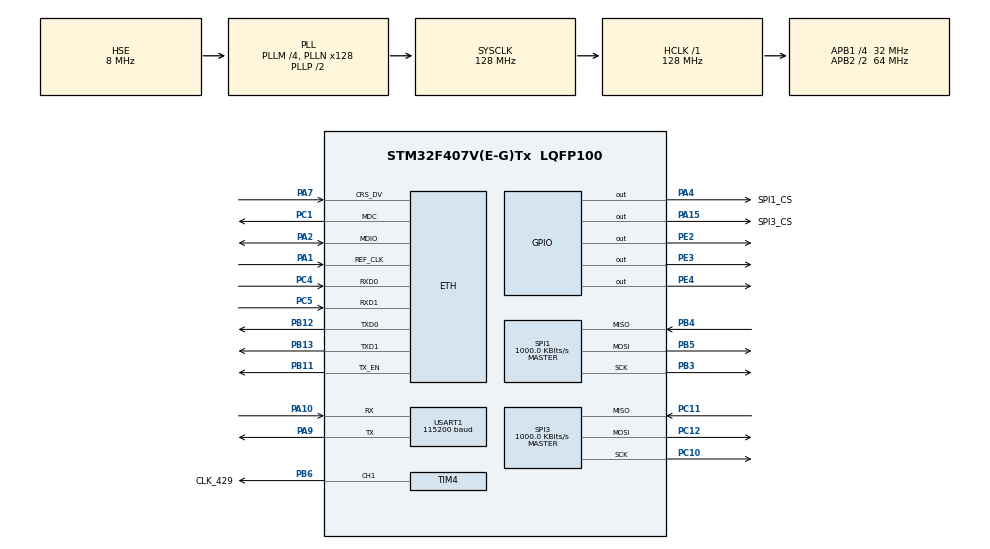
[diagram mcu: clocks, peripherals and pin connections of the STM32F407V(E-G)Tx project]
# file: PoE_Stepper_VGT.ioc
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Dma.Request0=USART1_RX
Dma.USART1_RX.0.Direction=DMA_PERIPH_TO_MEMORY
Dma.USART1_RX.0.FIFOMode=DMA_FIFOMODE_DISABLE
Dma.USART1_RX.0.Instance=DMA2_Stream2
Dma.USART1_RX.0.MemDataAlignment=DMA_MDATAALIGN_BYTE
Dma.USART1_RX.0.MemInc=DMA_MINC_ENABLE
Dma.USART1_RX.0.Mode=DMA_CIRCULAR
Dma.USART1_RX.0.PeriphDataAlignment=DMA_PDATAALIGN_BYTE
Dma.USART1_RX.0.PeriphInc=DMA_PINC_DISABLE
Dma.USART1_RX.0.Priority=DMA_PRIORITY_LOW
ETH.MediaInterface=ETH_MEDIA_INTERFACE_RMII
ETH.PHY_Name_RMII=LAN8742A_PHY_ADDRESS
LWIP.GATEWAY_ADDRESS=192.168.107.001
LWIP.IP_ADDRESS=192.168.107.111
LWIP.LWIP_DHCP=0
LWIP.MEM_SIZE=10*1024
LWIP.NETMASK_ADDRESS=255.255.255.000
LWIP.Version=v2.1.2_Cube
Mcu.Family=STM32F4
Mcu.Name=STM32F407V(E-G)Tx
Mcu.Package=LQFP100
NVIC.DMA2_Stream2_IRQn=true\:0\:0\:false\:false\:true\:false\:true
NVIC.PriorityGroup=NVIC_PRIORITYGROUP_4
NVIC.USART1_IRQn=true\:0\:0\:false\:false\:true\:true\:true
PA1.Mode=RMII
PA1.Signal=ETH_REF_CLK
PA10.Mode=Asynchronous
PA10.Signal=USART1_RX
PA13.Mode=Serial_Wire
PA13.Signal=SYS_JTMS-SWDIO
PA14.Mode=Serial_Wire
PA14.Signal=SYS_JTCK-SWCLK
PA15.GPIO_Label=SPI3_CS
PA15.Signal=GPIO_Output
PA2.Mode=RMII
PA2.Signal=ETH_MDIO
PA4.GPIO_Label=SPI1_CS
PA4.Signal=GPIO_Output
PA7.Mode=RMII
PA7.Signal=ETH_CRS_DV
PA9.Mode=Asynchronous
PA9.Signal=USART1_TX
PB11.Mode=RMII
PB11.Signal=ETH_TX_EN
PB12.Mode=RMII
PB12.Signal=ETH_TXD0
PB13.Mode=RMII
PB13.Signal=ETH_TXD1
PB3.Mode=Full_Duplex_Master
PB3.Signal=SPI1_SCK
PB4.Mode=Full_Duplex_Master
PB4.Signal=SPI1_MISO
PB5.Mode=Full_Duplex_Master
PB5.Signal=SPI1_MOSI
PB6.GPIO_Label=CLK_429
PB6.Signal=S_TIM4_CH1
PC1.Mode=RMII
PC1.Signal=ETH_MDC
PC10.Mode=Full_Duplex_Master
PC10.Signal=SPI3_SCK
PC11.Mode=Full_Duplex_Master
PC11.Signal=SPI3_MISO
PC12.Mode=Full_Duplex_Master
PC12.Signal=SPI3_MOSI
PC4.Mode=RMII
PC4.Signal=ETH_RXD0
PC5.Mode=RMII
PC5.Signal=ETH_RXD1
PE2.Signal=GPIO_Output
PE3.Signal=GPIO_Output
PE4.Signal=GPIO_Output
PH0-OSC_IN.Mode=HSE-External-Oscillator
PH0-OSC_IN.Signal=RCC_OSC_IN
PH1-OSC_OUT.Mode=HSE-External-Oscillator
PH1-OSC_OUT.Signal=RCC_OSC_OUT
ProjectManager.HeapSize=0x200
ProjectManager.StackSize=0x400
ProjectManager.TargetToolchain=STM32CubeIDE
RCC.48MHZClocksFreq_Value=64000000
RCC.AHBFreq_Value=128000000
RCC.APB1CLKDivider=RCC_HCLK_DIV4
RCC.APB1Freq_Value=32000000
RCC.APB1TimFreq_Value=64000000
RCC.APB2CLKDivider=RCC_HCLK_DIV2
RCC.APB2Freq_Value=64000000
RCC.APB2TimFreq_Value=128000000
RCC.CortexFreq_Value=128000000
RCC.HCLKFreq_Value=128000000
RCC.HSE_VALUE=8000000
RCC.HSI_VALUE=16000000
RCC.LSE_VALUE=32768
RCC.PLLM=4
RCC.PLLN=128
RCC.PLLSourceVirtual=RCC_PLLSOURCE_HSE
RCC.SYSCLKFreq_VALUE=128000000
RCC.SYSCLKSource=RCC_SYSCLKSOURCE_PLLCLK
RCC.VCOOutputFreq_Value=256000000
SH.S_TIM4_CH1.0=TIM4_CH1,PWM Generation1 CH1
SPI1.BaudRatePrescaler=SPI_BAUDRATEPRESCALER_64
SPI1.CLKPhase=SPI_PHASE_2EDGE
SPI1.CLKPolarity=SPI_POLARITY_HIGH
SPI1.CalculateBaudRate=1000.0 KBits/s
SPI1.Direction=SPI_DIRECTION_2LINES
SPI1.Mode=SPI_MODE_MASTER
SPI1.VirtualType=VM_MASTER
SPI3.BaudRatePrescaler=SPI_BAUDRATEPRESCALER_32
SPI3.CLKPhase=SPI_PHASE_2EDGE
SPI3.CLKPolarity=SPI_POLARITY_HIGH
SPI3.CalculateBaudRate=1000.0 KBits/s
SPI3.Direction=SPI_DIRECTION_2LINES
SPI3.Mode=SPI_MODE_MASTER
SPI3.VirtualType=VM_MASTER
TIM4.Channel-PWM\ Generation1\ CH1=TIM_CHANNEL_1
TIM4.Period=2-1
TIM4.Prescaler=1
USART1.BaudRate=115200
USART1.VirtualMode=VM_ASYNC
VP_LWIP_VS_Enabled.Mode=Enabled
VP_TIM4_VS_ClockSourceINT.Mode=Internal
board=custom

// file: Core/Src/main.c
/* USER CODE BEGIN Header */
/**
  ******************************************************************************
  * @file           : main.c
  * @brief          : Main program body
  ******************************************************************************
  * @attention
  *
  * Copyright (c) 2022 STMicroelectronics.
  * All rights reserved.
  *
  * This software is licensed under terms that can be found in the LICENSE file
  * in the root directory of this software component.
  * If no LICENSE file comes with this software, it is provided AS-IS.
  *
  ******************************************************************************
  */
/* USER CODE END Header */
#include "main.h"
#include "lwip.h"

/* USER CODE BEGIN Includes */
#include <stdio.h>
/* USER CODE END Includes */

SPI_HandleTypeDef hspi1;
SPI_HandleTypeDef hspi3;

TIM_HandleTypeDef htim4;

UART_HandleTypeDef huart1;
DMA_HandleTypeDef hdma_usart1_rx;

void SystemClock_Config(void);
static void MX_GPIO_Init(void);
static void MX_SPI1_Init(void);
static void MX_SPI3_Init(void);
static void MX_TIM4_Init(void);
static void MX_DMA_Init(void);
static void MX_USART1_UART_Init(void);
/* USER CODE BEGIN PFP */
uint8_t SPI_2660_Init(void);
uint8_t SPI_429_Init(uint8_t *spi_buf);
void const_vel_test_429 (uint8_t * spi_buf);
void const_vel_test_429_pos (uint8_t * spi_buf);
void set_motor_pos(uint32_t position, uint8_t * spi_buf);
void read_position(uint8_t * spi_buffer, uint8_t reg);
void read_ifx(uint8_t * spi_buf);
void write_ifx(uint8_t * spi_buf);
void read_common_reg(uint8_t * spi_buf);

uint32_t set_current_scaling(uint8_t * c_scale);
uint32_t set_motor_x(uint8_t * pos, uint8_t * spi_buf);
uint32_t set_motor_vel(uint8_t * vel, uint8_t * spi_buf);
void get_position(uint8_t * spi_buf);
uint8_t* get_velocity(uint8_t * spi_buf);
void set_const_vel_test(uint8_t * spi_buf);
/* USER CODE END PFP */

/* USER CODE BEGIN 0 */
extern struct netif gnetif;
uint8_t Rx_data[10];  //  creating a buffer of 10 bytes

void HAL_UART_RxHalfCpltCallback(UART_HandleTypeDef *huart)
{
  HAL_GPIO_TogglePin(GPIOE, GPIO_PIN_4);  // toggle PA0
}

void HAL_UART_RxCpltCallback(UART_HandleTypeDef *huart)
{
  HAL_UART_Receive_DMA(&huart1, Rx_data, 4);
}

/* USER CODE END 0 */

int main(void)
{

  /* MCU Configuration--------------------------------------------------------*/

  /* Reset of all peripherals, Initializes the Flash interface and the Systick. */
  HAL_Init();

  /* Configure the system clock */
  SystemClock_Config();

  /* Initialize all configured peripherals */
  MX_GPIO_Init();
  MX_SPI1_Init();
  MX_SPI3_Init();
  MX_TIM4_Init();
  MX_DMA_Init();
  MX_USART1_UART_Init();
  MX_LWIP_Init();
  /* USER CODE BEGIN 2 */

  //  TIM1->CCR4 = 4; //set duty cycle of tim1 ch4
     //set duty cycle of tim4 ch1

    //HAL_TIM_PWM_Start(&htim1, TIM_CHANNEL_4); //start tim1 ch4 pwm

  //  HAL_TIM_Base_Start(&htim4);
  TIM4->CCR1 = 1;
  HAL_TIM_PWM_Start(&htim4, TIM_CHANNEL_1); //start tim4 ch1 pwm

  uint8_t spi_buf[4];

  SPI_429_Init(spi_buf);
  SPI_2660_Init();

  /* USER CODE END 2 */

  /* Infinite loop */
  /* USER CODE BEGIN WHILE */
  // read_ifx(spi_buf);

  HAL_UART_Receive_DMA(&huart1, Rx_data, 4);  // Receive 4 Bytes of data

  while (1)
  {
    /* USER CODE END WHILE */

    /* USER CODE BEGIN 3 */
//	int j;
//	j=0;
//	char MSG[500] = {'\0'};
//
//
//		sprintf(MSG, "RX_DATA:%x, %x, %x, %x \r\n", (Rx_data[0]), (Rx_data[1]), (Rx_data[2]), (Rx_data[3]));

	  //HAL_UART_Transmit(&huart1, (uint8_t *)Rx_data, 4, HAL_MAX_DELAY);

//	 ethernetif_input(&gnetif);
//	 sys_check_timeouts();

//	 read_common_reg(spi_buf);

	 switch (Rx_data[0]) {
		 case 0x01: // set pos

//			 HAL_GPIO_WritePin(GPIOE, GPIO_PIN_4, GPIO_PIN_SET);
			 set_motor_x(Rx_data, spi_buf);
			 break;

		 case 0x02: // get pos
			 get_position(spi_buf);
			 //set_const_vel_test(spi_buf);

			 break;

		 case 0x04: // set vel
			 set_motor_vel(Rx_data, spi_buf);
			 break;

		 case 0x08: // get vel
			 break;

		 case 0x0F: // set current scale
			 set_current_scaling(Rx_data);
			 break;

	 }

	 uint8_t test[4];
	 test[0] = Rx_data[0];
	 test[1] = Rx_data[1];
	 test[2] = Rx_data[2];
	 test[3] = Rx_data[3];

//	 HAL_Delay(1000);

//	 MSG[500] = {'\0'};
//	HAL_GPIO_TogglePin(GPIOE, GPIO_PIN_4);
//	HAL_Delay(50);
//	set_motor_pos(1, spi_buf);

  // read_ifx(spi_buf);
	//const_vel_test_429(spi_buf);
  //HAL_Delay(1000);
  //const_vel_test_429_pos(spi_buf);

//	HAL_GPIO_WritePin(GPIOA, GPIO_PIN_15, GPIO_PIN_RESET);
//	HAL_SPI_Transmit(&hspi3,(uint8_t *)spi_buf, 3, 100);
//	HAL_GPIO_WritePin(GPIOA, GPIO_PIN_15, GPIO_PIN_SET);

  }
  /* USER CODE END 3 */
}

void SystemClock_Config(void)
{
  RCC_OscInitTypeDef RCC_OscInitStruct = {0};
  RCC_ClkInitTypeDef RCC_ClkInitStruct = {0};

  /** Configure the main internal regulator output voltage
  */
  __HAL_RCC_PWR_CLK_ENABLE();
  __HAL_PWR_VOLTAGESCALING_CONFIG(PWR_REGULATOR_VOLTAGE_SCALE1);
  /** Initializes the RCC Oscillators according to the specified parameters
  * in the RCC_OscInitTypeDef structure.
  */
  RCC_OscInitStruct.OscillatorType = RCC_OSCILLATORTYPE_HSE;
  RCC_OscInitStruct.HSEState = RCC_HSE_ON;
  RCC_OscInitStruct.PLL.PLLState = RCC_PLL_ON;
  RCC_OscInitStruct.PLL.PLLSource = RCC_PLLSOURCE_HSE;
  RCC_OscInitStruct.PLL.PLLM = 4;
  RCC_OscInitStruct.PLL.PLLN = 128;
  RCC_OscInitStruct.PLL.PLLP = RCC_PLLP_DIV2;
  RCC_OscInitStruct.PLL.PLLQ = 4;
  if (HAL_RCC_OscConfig(&RCC_OscInitStruct) != HAL_OK)
  {
    Error_Handler();
  }
  /** Initializes the CPU, AHB and APB buses clocks
  */
  RCC_ClkInitStruct.ClockType = RCC_CLOCKTYPE_HCLK|RCC_CLOCKTYPE_SYSCLK
                              |RCC_CLOCKTYPE_PCLK1|RCC_CLOCKTYPE_PCLK2;
  RCC_ClkInitStruct.SYSCLKSource = RCC_SYSCLKSOURCE_PLLCLK;
  RCC_ClkInitStruct.AHBCLKDivider = RCC_SYSCLK_DIV1;
  RCC_ClkInitStruct.APB1CLKDivider = RCC_HCLK_DIV4;
  RCC_ClkInitStruct.APB2CLKDivider = RCC_HCLK_DIV2;

  if (HAL_RCC_ClockConfig(&RCC_ClkInitStruct, FLASH_LATENCY_4) != HAL_OK)
  {
    Error_Handler();
  }
}

static void MX_SPI1_Init(void)
{

  /* SPI1 parameter configuration*/
  hspi1.Instance = SPI1;
  hspi1.Init.Mode = SPI_MODE_MASTER;
  hspi1.Init.Direction = SPI_DIRECTION_2LINES;
  hspi1.Init.DataSize = SPI_DATASIZE_8BIT;
  hspi1.Init.CLKPolarity = SPI_POLARITY_HIGH;
  hspi1.Init.CLKPhase = SPI_PHASE_2EDGE;
  hspi1.Init.NSS = SPI_NSS_SOFT;
  hspi1.Init.BaudRatePrescaler = SPI_BAUDRATEPRESCALER_64;
  hspi1.Init.FirstBit = SPI_FIRSTBIT_MSB;
  hspi1.Init.TIMode = SPI_TIMODE_DISABLE;
  hspi1.Init.CRCCalculation = SPI_CRCCALCULATION_DISABLE;
  hspi1.Init.CRCPolynomial = 10;
  if (HAL_SPI_Init(&hspi1) != HAL_OK)
  {
    Error_Handler();
  }

}

static void MX_SPI3_Init(void)
{

  /* SPI3 parameter configuration*/
  hspi3.Instance = SPI3;
  hspi3.Init.Mode = SPI_MODE_MASTER;
  hspi3.Init.Direction = SPI_DIRECTION_2LINES;
  hspi3.Init.DataSize = SPI_DATASIZE_8BIT;
  hspi3.Init.CLKPolarity = SPI_POLARITY_HIGH;
  hspi3.Init.CLKPhase = SPI_PHASE_2EDGE;
  hspi3.Init.NSS = SPI_NSS_SOFT;
  hspi3.Init.BaudRatePrescaler = SPI_BAUDRATEPRESCALER_32;
  hspi3.Init.FirstBit = SPI_FIRSTBIT_MSB;
  hspi3.Init.TIMode = SPI_TIMODE_DISABLE;
  hspi3.Init.CRCCalculation = SPI_CRCCALCULATION_DISABLE;
  hspi3.Init.CRCPolynomial = 10;
  if (HAL_SPI_Init(&hspi3) != HAL_OK)
  {
    Error_Handler();
  }

}

static void MX_TIM4_Init(void)
{

  TIM_ClockConfigTypeDef sClockSourceConfig = {0};
  TIM_MasterConfigTypeDef sMasterConfig = {0};
  TIM_OC_InitTypeDef sConfigOC = {0};

  htim4.Instance = TIM4;
  htim4.Init.Prescaler = 1;
  htim4.Init.CounterMode = TIM_COUNTERMODE_UP;
  htim4.Init.Period = 2-1;
  htim4.Init.ClockDivision = TIM_CLOCKDIVISION_DIV1;
  htim4.Init.AutoReloadPreload = TIM_AUTORELOAD_PRELOAD_DISABLE;
  if (HAL_TIM_Base_Init(&htim4) != HAL_OK)
  {
    Error_Handler();
  }
  sClockSourceConfig.ClockSource = TIM_CLOCKSOURCE_INTERNAL;
  if (HAL_TIM_ConfigClockSource(&htim4, &sClockSourceConfig) != HAL_OK)
  {
    Error_Handler();
  }
  if (HAL_TIM_PWM_Init(&htim4) != HAL_OK)
  {
    Error_Handler();
  }
  sMasterConfig.MasterOutputTrigger = TIM_TRGO_RESET;
  sMasterConfig.MasterSlaveMode = TIM_MASTERSLAVEMODE_DISABLE;
  if (HAL_TIMEx_MasterConfigSynchronization(&htim4, &sMasterConfig) != HAL_OK)
  {
    Error_Handler();
  }
  sConfigOC.OCMode = TIM_OCMODE_PWM1;
  sConfigOC.Pulse = 0;
  sConfigOC.OCPolarity = TIM_OCPOLARITY_HIGH;
  sConfigOC.OCFastMode = TIM_OCFAST_DISABLE;
  if (HAL_TIM_PWM_ConfigChannel(&htim4, &sConfigOC, TIM_CHANNEL_1) != HAL_OK)
  {
    Error_Handler();
  }
  HAL_TIM_MspPostInit(&htim4);

}

static void MX_USART1_UART_Init(void)
{

  huart1.Instance = USART1;
  huart1.Init.BaudRate = 115200;
  huart1.Init.WordLength = UART_WORDLENGTH_8B;
  huart1.Init.StopBits = UART_STOPBITS_1;
  huart1.Init.Parity = UART_PARITY_NONE;
  huart1.Init.Mode = UART_MODE_TX_RX;
  huart1.Init.HwFlowCtl = UART_HWCONTROL_NONE;
  huart1.Init.OverSampling = UART_OVERSAMPLING_16;
  if (HAL_UART_Init(&huart1) != HAL_OK)
  {
    Error_Handler();
  }

}

static void MX_DMA_Init(void)
{

  /* DMA controller clock enable */
  __HAL_RCC_DMA2_CLK_ENABLE();

  /* DMA interrupt init */
  /* DMA2_Stream2_IRQn interrupt configuration */
  HAL_NVIC_SetPriority(DMA2_Stream2_IRQn, 0, 0);
  HAL_NVIC_EnableIRQ(DMA2_Stream2_IRQn);

}

static void MX_GPIO_Init(void)
{
  GPIO_InitTypeDef GPIO_InitStruct = {0};

  /* GPIO Ports Clock Enable */
  __HAL_RCC_GPIOE_CLK_ENABLE();
  __HAL_RCC_GPIOH_CLK_ENABLE();
  __HAL_RCC_GPIOC_CLK_ENABLE();
  __HAL_RCC_GPIOA_CLK_ENABLE();
  __HAL_RCC_GPIOB_CLK_ENABLE();

  /*Configure GPIO pin Output Level */
  HAL_GPIO_WritePin(GPIOE, GPIO_PIN_2|GPIO_PIN_3|GPIO_PIN_4, GPIO_PIN_RESET);

  /*Configure GPIO pin Output Level */
  HAL_GPIO_WritePin(GPIOA, SPI1_CS_Pin|SPI3_CS_Pin, GPIO_PIN_RESET);

  /*Configure GPIO pins : PE2 PE3 PE4 */
  GPIO_InitStruct.Pin = GPIO_PIN_2|GPIO_PIN_3|GPIO_PIN_4;
  GPIO_InitStruct.Mode = GPIO_MODE_OUTPUT_PP;
  GPIO_InitStruct.Pull = GPIO_NOPULL;
  GPIO_InitStruct.Speed = GPIO_SPEED_FREQ_LOW;
  HAL_GPIO_Init(GPIOE, &GPIO_InitStruct);

  /*Configure GPIO pins : SPI1_CS_Pin SPI3_CS_Pin */
  GPIO_InitStruct.Pin = SPI1_CS_Pin|SPI3_CS_Pin;
  GPIO_InitStruct.Mode = GPIO_MODE_OUTPUT_PP;
  GPIO_InitStruct.Pull = GPIO_NOPULL;
  GPIO_InitStruct.Speed = GPIO_SPEED_FREQ_LOW;
  HAL_GPIO_Init(GPIOA, &GPIO_InitStruct);

}

/* USER CODE BEGIN 4 */

HAL_StatusTypeDef SPI_2660_Transmit(uint8_t * dataBuffer){
    HAL_StatusTypeDef err;
    uint8_t spi_buf[3];

    HAL_GPIO_WritePin(GPIOA, GPIO_PIN_15, GPIO_PIN_RESET);
    err = HAL_SPI_TransmitReceive(&hspi3, (uint8_t *)dataBuffer, (uint8_t *)spi_buf,  3, 100);
    while(HAL_SPI_GetState(&hspi3) != HAL_SPI_STATE_READY);
//    while(HAL_SPI_GetState(&hspi3) != HAL_SPI_STATE_READY);
    HAL_GPIO_WritePin(GPIOA, GPIO_PIN_15, GPIO_PIN_SET);

    return err;
}

uint8_t SPI_2660_Init(void){
    uint8_t wData[3];
    wData[0] = 0x09;            // SPI = $94557  Constant toff mode
    wData[1] = 0x01;
    wData[2] = 0xB4;
    SPI_2660_Transmit(wData);

    wData[0] = 0x0D;            // SPI = $D001F  Current setting: $d001F (max. current) (D000A = 1/3 current)
    wData[1] = 0x00;
    wData[2] = 0x0A;//0x0A;
    SPI_2660_Transmit(wData);

    wData[0] = 0x0E;            // SPI = $E0090  low driver strength, StallGuard2 read, SDOFF=1
    wData[1] = 0x00;            //  1110 0000 0000 1001 0000
    wData[2] = 0x10;
    SPI_2660_Transmit(wData);

    wData[0] = 0x00;            // SPI = $00000  256 microstep setting
    wData[1] = 0x00;
    wData[2] = 0x00; // 64 micro step setting // 0x00; 08-full
    SPI_2660_Transmit(wData);

    return 0;

}

HAL_StatusTypeDef SPI_429_Transmit(uint8_t * dataBuffer, uint8_t *spi_buf){
    HAL_StatusTypeDef err;
    // uint8_t spi_buf[4];

    HAL_GPIO_WritePin(GPIOE, GPIO_PIN_2, GPIO_PIN_RESET);
    err = HAL_SPI_TransmitReceive(&hspi1, (uint8_t *)dataBuffer, (uint8_t *)spi_buf,  4, 10000);
    while(HAL_SPI_GetState(&hspi1) != HAL_SPI_STATE_READY);
//  HAL_SPI_Receive(&hspi3, (uint8_t *)spi_buf, 5, 100);
//    while(HAL_SPI_GetState(&hspi3) != HAL_SPI_STATE_READY);
    HAL_GPIO_WritePin(GPIOE, GPIO_PIN_2, GPIO_PIN_SET);

    return err;
}

uint8_t SPI_429_Init(uint8_t *spi_buf){
    uint8_t wData[4];
    wData[0] = 0x04;            // SPI = $04 00 00 07
    wData[1] = 0x00;
    wData[2] = 0x00;
    wData[3] = 0x07;
    SPI_429_Transmit(wData,spi_buf);
    //0000 0100 0000 0000 0[000 0000 0111]
    //IDX: 0010
    //vmin: 7

    wData[0] = 0x06;            // SPI = $06 00 07 FF
    wData[1] = 0x00;
    wData[2] = 0x07;
    wData[3] = 0x00;
    SPI_429_Transmit(wData,spi_buf);
    //0000 0110 0000 0000 0[111 1111 1111]
    //IDX: 0011
    //vmax:2047

    wData[0] = 0x18;// end now 07 //0x14;            // SPI = $14 00 33 00
    wData[1] = 0x00;
    wData[2] = 0x33;
    wData[3] = 0x00;//0x07; //usrs res 111 64 microstep
    SPI_429_Transmit(wData, spi_buf);
    //0001 1000 0000 0000 [0011] [0011] 0000 [0111]
    //IDX:1100 18
    //PULSE_DIV: 3
    //RAMP_DIV: 3
    //USRS: 7

//    //NEW ADD
//    wData[0] = 0x14;            // SPI = $14 00 03 00
//    wData[1] = 0x00;
//    wData[2] = 0x03;            // ref_conf = (refrnl, softstop, disavle stop r. disable stop 1) = 0b011
//    wData[3] = 0x00;          //0x02;
//    SPI_429_Transmit(wData, spi_buf);
//    //0001 0100 0000 0000 0000 [0011] 0000 00[00]
//    //IDX: 1010
//    //REF_CONF = 3
//    //R_M = 2
//    //00-ramp mode(set pos), 01 soft mode, 10 velocity mode

    //ENABLE REFERENCE SWITCHES
    wData[0] = 0x14;            // SPI = $14 00 03 00
    wData[1] = 0x00;
    wData[2] = 0x00;            // ref_conf = (refrnl, softstop, disavle stop r. disable stop 1) = 0b011
    wData[3] = 0x00;          //0x02;
    SPI_429_Transmit(wData, spi_buf);

    wData[0] = 0x0C;            // SPI = $0C 00 00 0A
    wData[1] = 0x00;
    wData[2] = 0x00;
    wData[3] = 0x0A;
    SPI_429_Transmit(wData, spi_buf);
    //0000 1100 0000 0000 0000 0[000 0000 1010]
    //IDX:0110
    //A_MAX: 10

    wData[0] = 0x12;            // SPI = $12 00 1E 08
    wData[1] = 0x00;
    wData[2] = 0x1E;
    wData[3] = 0x08;
    SPI_429_Transmit(wData, spi_buf);
    //0001 0010 0000 0000 1[110 1000] 0000 [1000]
    //IDX:1001
    //1: 1
    //PMUL:158-128 = 30
    //PDIV:8

    wData[0] = 0x0A;            // SPI = $0A 00 03 00
    wData[1] = 0x00;
    wData[2] = 0x03;
    wData[3] = 0x00;
    SPI_429_Transmit(wData, spi_buf);
    //0000 1010 0000 0000 0000 [0011 0000 0000]
    //IDX:0101
    //VACTUAL: 768

//    //WRITE TO FX
//    wData[0] = 0x68;
//    wData[1] = 0x00;
//    wData[2] = 0x00;
//    wData[3] = 0x20;
//    //ENABLE step/dir mode

    //INVERSE REF SWITCH
    wData[0] = 0x68;
    wData[1] = 0x00;
    wData[2] = 0x00;
    wData[3] = 0x21;
    //ENABLE step/dir mode

    SPI_429_Transmit(wData, spi_buf);

//    set refmux, mot2r

    wData[0] = 0x7E;
    wData[1] = 0x20;
    wData[2] = 0x0F;
    wData[3] = 0x00;

    SPI_429_Transmit(wData, spi_buf);

    return 0;
    //64 micros/ full step       200 steps/ rev
}

void const_vel_test_429 (uint8_t * spi_buf){
	  uint8_t wData[4];

    wData[0] = 0x08;            // SPI = 0000 1000 0000 0000 0000 [0000 0001 0000]
    wData[1] = 0x00;
    wData[2] = 0x00;
    wData[3] = 0x10;
    SPI_429_Transmit(wData, spi_buf);

    read_position(spi_buf, 1);
}

void read_common_reg(uint8_t * spi_buf){

    spi_buf[0] = 0x00;
    spi_buf[1] = 0x00;
    spi_buf[2] = 0x00;  //HAL_UART_Transmit(&huart1, (uint8_t *)MSG, sizeof(MSG), HAL_MAX_DELAY);
    spi_buf[3] = 0x00;

    uint8_t rData[4];
//    0111 1111
    rData[0] = 0x7F;
    rData[1] = 0x00;
    rData[2] = 0x00;
    rData[3] = 0x00;

    SPI_429_Transmit(rData, spi_buf);

    uint8_t LData[4];
//    0111 1111
    LData[0] = spi_buf[0];
    LData[1] = spi_buf[1];
    LData[2] = spi_buf[2];
    LData[3] = spi_buf[3];

    int j=0;
//    HAL_UART_Transmit(&huart1, (uint8_t *)MSG, sizeof(MSG), HAL_MAX_DELAY);
}

void read_position(uint8_t * spi_buf, uint8_t reg){
    int j;
    j=0;
    char MSG[500] = {'\0'};
    //j += sprintf(MSG+j, "Output of target setting:0x0%lx\r\n", (uint32_t)(*spi_buf));
    //IDX:0000
    //24 bits position
    spi_buf[0] = ((reg & 0x0F) << 1) + 1;
    spi_buf[1] = 0x00;
    spi_buf[2] = 0x00;  //HAL_UART_Transmit(&huart1, (uint8_t *)MSG, sizeof(MSG), HAL_MAX_DELAY);
    spi_buf[3] = 0x00;

    uint8_t rData[4];
    rData[0] = (uint8_t)(((reg & 0x0F) << 1) + 1);
    rData[1] = 0x00;
    rData[2] = 0x00;
    rData[3] = 0x00;

    SPI_429_Transmit(rData, spi_buf);
    j += sprintf(MSG+j, "REGISTER:%u\n", reg);
    j += sprintf(MSG+j, "VAL_INSIDE:0x0%lx, %lx, %lx \r\n", (uint32_t)(spi_buf[1]), (uint32_t)(spi_buf[2]), (uint32_t)(spi_buf[3]));
    HAL_UART_Transmit(&huart1, (uint8_t *)MSG, sizeof(MSG), HAL_MAX_DELAY);
}

void read_ifx(uint8_t * spi_buf){
    int j;
    j=0;
    char MSG[500] = {'\0'};
    //j += sprintf(MSG+j, "Output of target setting:0x0%lx\r\n", (uint32_t)(*spi_buf));
    //IDX:0000
    //24 bits position
    //0110 1001 ......0 0000 0000
    //6     9
    spi_buf[0] = 0x00;
    spi_buf[1] = 0x00;
    spi_buf[2] = 0x00;  //HAL_UART_Transmit(&huart1, (uint8_t *)MSG, sizeof(MSG), HAL_MAX_DELAY);
    spi_buf[3] = 0x00;

    uint8_t rData[4];
    rData[0] = 0x69;
    rData[1] = 0x00;
    rData[2] = 0x00;
    rData[3] = 0x00;

    SPI_429_Transmit(rData, spi_buf);
    j += sprintf(MSG+j, "VAL_INSIDE IFX:0x0%lx, %lx, %lx \r\n", (uint32_t)(spi_buf[1]), (uint32_t)(spi_buf[2]), (uint32_t)(spi_buf[3]));
    HAL_UART_Transmit(&huart1, (uint8_t *)MSG, sizeof(MSG), HAL_MAX_DELAY);
}

void write_ifx(uint8_t * spi_buf){

    uint8_t wData[4];
    wData[0] = 0x69;
    wData[1] = 0x00;
    wData[2] = 0x00;
    wData[3] = 0x20;

    SPI_429_Transmit(wData, spi_buf);
}

void const_vel_test_429_pos (uint8_t * spi_buf){
	  uint8_t wData[4];

    wData[0] = 0x08;            // SPI = 0000 1000 0000 0000 0000 [0000 0001 0000]
    wData[1] = 0x00;
    wData[2] = 0x00;
    wData[3] = 0x10;
    SPI_429_Transmit(wData, spi_buf);
}

void set_motor_pos(uint32_t position, uint8_t * spi_buf){

	// set motor position: 0 00 0000 0 xxxxxxxx xxxxxxxx xxxxxxxx (24-bit position)
	// set ramp mode: 010 1010 0 (0x54) xxxxxxx(lp) xxxxaaaa(ref_conf) xxxxxxaa(ramp mode)

	 uint8_t wData[4];
	 wData[0] = 0x00;
	 wData[1] = 0x00;
	 wData[2] = 0xCE;
	 wData[3] = 0x40;
	 SPI_429_Transmit(wData, spi_buf);

	 //0x006720 = 180 degrees
	 //0x00CE40

//   read_position(spi_buf, 0);

   HAL_Delay(5000);
//   read_position(spi_buf, 1);

	 wData[0] = 0x00;
	 wData[1] = 0x00;
	 wData[2] = 0x00;
	 wData[3] = 0x00;
	 SPI_429_Transmit(wData, spi_buf);

//   read_position(spi_buf, 0);

   HAL_Delay(5000);
//   read_position(spi_buf, 1);

}

uint32_t set_motor_vel(uint8_t * vel, uint8_t * spi_buf){

    // set velocity mode
    uint8_t wData[4];

    wData[0] = 0x14;            // SPI = $14 00 03 00
    wData[1] = 0x00;
    wData[2] = 0x00;            // ref_conf = (refrnl, softstop, disavle stop r. disable stop 1) = 0b011
    wData[3] = 0x02;          //0x02 velocity mode;

    SPI_429_Transmit(wData, spi_buf);

    // set vel target

    wData[0] = 0x08;
    wData[1] = 0x00;
    wData[2] = vel[2];
    wData[3] = vel[3];

    SPI_429_Transmit(wData, spi_buf);

    return 0;

}

uint32_t set_current_scaling(uint8_t * c_scale){

	uint8_t wData[3];

    wData[0] = 0x0D;            // SPI = $D001F  Current setting: $d001F (max. current) (D000A = 1/3 current)
    wData[1] = 0x01 & (c_scale[2]);
    wData[2] = c_scale[3];//0x0A;
    SPI_2660_Transmit(wData);

    return 0;

}

uint32_t set_motor_x(uint8_t * pos, uint8_t * spi_buf){

    // set ramp mode
    uint8_t wData[4];

    wData[0] = 0x14;            // SPI = $14 00 03 00
    wData[1] = 0x00;
    wData[2] = 0x00;            // ref_conf = (refrnl, softstop, disavle stop r. disable stop 1) = 0b011
    wData[3] = 0x00;          //0x00 ramp mode;

    SPI_429_Transmit(wData, spi_buf);

    // set x target
    wData[0] = 0x00;
    wData[1] = pos[1];
    wData[2] = pos[2];
    wData[3] = pos[3];

    SPI_429_Transmit(wData, spi_buf);

    return 0;

}

void set_const_vel_test(uint8_t * spi_buf){
    uint8_t wData[4];

    //SET TO VELOCITY MODE
    wData[0] = 0x14;            // SPI = $14 00 03 00
    wData[1] = 0x00;
    wData[2] = 0x03;            // ref_conf = (refrnl, softstop, disavle stop r. disable stop 1) = 0b011
    wData[3] = 0x02;          //0x02;
    SPI_429_Transmit(wData, spi_buf);

    //SET VEOLOCITY
    wData[0] = 0x08;            // SPI = 0000 1000 0000 0000 0000 [0000 0001 0000]
    wData[1] = 0x00;
    wData[2] = 0x37;
    wData[3] = 0x10;
    SPI_429_Transmit(wData, spi_buf);
    int cnt = 10;

    while(cnt>0){
      read_position(spi_buf, 1);
      get_position(spi_buf);
      cnt = cnt - 1;
    }

    HAL_Delay(1000);
    //SET BACK TO RAMP MODE
    wData[0] = 0x14;            // SPI = $14 00 03 00
    wData[1] = 0x00;
    wData[2] = 0x03;            // ref_conf = (refrnl, softstop, disavle stop r. disable stop 1) = 0b011
    wData[3] = 0x02;          //0x02;
    SPI_429_Transmit(wData, spi_buf);
}
void get_position(uint8_t * spi_buf){

	spi_buf[0] = 0;
	spi_buf[1] = 0;
	spi_buf[2] = 0;
	spi_buf[3] = 0;

    //24 bits position

//    uint8_t urmum[4];

    uint8_t rData[4];
    rData[0] = 0x03;
    rData[1] = 0x00;
    rData[2] = 0x00;
    rData[3] = 0x00;

    SPI_429_Transmit(rData, spi_buf);
    SPI_429_Transmit(rData, spi_buf);
    SPI_429_Transmit(rData, spi_buf);
    SPI_429_Transmit(rData, spi_buf);
    SPI_429_Transmit(rData, spi_buf);
    SPI_429_Transmit(rData, spi_buf);
    SPI_429_Transmit(rData, spi_buf);
    SPI_429_Transmit(rData, spi_buf);
    SPI_429_Transmit(rData, spi_buf);

    uint8_t uart_data[4];

    uart_data[0] = spi_buf[0];
    uart_data[1] = spi_buf[1];
    uart_data[2] = spi_buf[2];
    uart_data[3] = spi_buf[3];

    HAL_UART_Transmit(&huart1, uart_data, 4, 1000);

//    return spi_buf;
}

uint8_t* get_velocity(uint8_t * spi_buf){
    spi_buf[0] = 0x00;//((reg & 0x0F) << 1) + 1;
    spi_buf[1] = 0x00;
    spi_buf[2] = 0x00;
    spi_buf[3] = 0x00;

    uint8_t rData[4];
    rData[0] = (uint8_t)(((5 & 0x0F) << 1) + 1);
    rData[1] = 0x00;
    rData[2] = 0x00;
    rData[3] = 0x00;

    SPI_429_Transmit(rData, spi_buf);
    return spi_buf;
}

/* USER CODE END 4 */

void Error_Handler(void)
{
  __disable_irq();
  while (1)
  {
  }
}
